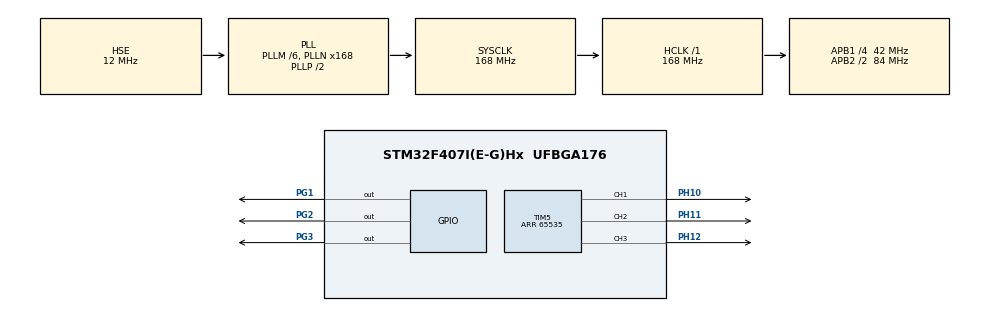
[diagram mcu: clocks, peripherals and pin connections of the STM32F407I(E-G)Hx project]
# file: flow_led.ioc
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Mcu.Family=STM32F4
Mcu.Name=STM32F407I(E-G)Hx
Mcu.Package=UFBGA176
NVIC.PriorityGroup=NVIC_PRIORITYGROUP_4
PA13.Mode=Serial_Wire
PA13.Signal=SYS_JTMS-SWDIO
PA14.Mode=Serial_Wire
PA14.Signal=SYS_JTCK-SWCLK
PG1.Signal=GPIO_Output
PG2.Signal=GPIO_Output
PG3.Signal=GPIO_Output
PH0-OSC_IN.Mode=HSE-External-Oscillator
PH0-OSC_IN.Signal=RCC_OSC_IN
PH1-OSC_OUT.Mode=HSE-External-Oscillator
PH1-OSC_OUT.Signal=RCC_OSC_OUT
PH10.GPIO_PuPd=GPIO_PULLUP
PH10.GPIO_Speed=GPIO_SPEED_FREQ_HIGH
PH10.Signal=S_TIM5_CH1
PH11.GPIO_PuPd=GPIO_PULLUP
PH11.GPIO_Speed=GPIO_SPEED_FREQ_HIGH
PH11.Signal=S_TIM5_CH2
PH12.GPIO_PuPd=GPIO_PULLUP
PH12.GPIO_Speed=GPIO_SPEED_FREQ_HIGH
PH12.Signal=S_TIM5_CH3
ProjectManager.HeapSize=0x200
ProjectManager.StackSize=0x400
ProjectManager.TargetToolchain=MDK-ARM V5
RCC.48MHZClocksFreq_Value=84000000
RCC.AHBFreq_Value=168000000
RCC.APB1CLKDivider=RCC_HCLK_DIV4
RCC.APB1Freq_Value=42000000
RCC.APB1TimFreq_Value=84000000
RCC.APB2CLKDivider=RCC_HCLK_DIV2
RCC.APB2Freq_Value=84000000
RCC.APB2TimFreq_Value=168000000
RCC.CortexFreq_Value=168000000
RCC.HCLKFreq_Value=168000000
RCC.HSE_VALUE=12000000
RCC.HSI_VALUE=16000000
RCC.LSE_VALUE=32768
RCC.PLLM=6
RCC.PLLN=168
RCC.PLLSourceVirtual=RCC_PLLSOURCE_HSE
RCC.SYSCLKFreq_VALUE=168000000
RCC.SYSCLKSource=RCC_SYSCLKSOURCE_PLLCLK
RCC.VCOOutputFreq_Value=336000000
SH.S_TIM5_CH1.0=TIM5_CH1,PWM Generation1 CH1
SH.S_TIM5_CH2.0=TIM5_CH2,PWM Generation2 CH2
SH.S_TIM5_CH3.0=TIM5_CH3,PWM Generation3 CH3
TIM5.Channel-PWM\ Generation1\ CH1=TIM_CHANNEL_1
TIM5.Channel-PWM\ Generation2\ CH2=TIM_CHANNEL_2
TIM5.Channel-PWM\ Generation3\ CH3=TIM_CHANNEL_3
TIM5.Period=65535
TIM5.Pulse-PWM\ Generation1\ CH1=10000
TIM5.Pulse-PWM\ Generation2\ CH2=10000
TIM5.Pulse-PWM\ Generation3\ CH3=10000
VP_TIM5_VS_ClockSourceINT.Mode=Internal
board=custom

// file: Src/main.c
/* USER CODE BEGIN Header */
/**
  ******************************************************************************
  * @file           : main.c
  * @brief          : Main program body
  ******************************************************************************
  * @attention
  *
  * <h2><center>&copy; Copyright (c) 2019 STMicroelectronics.
  * All rights reserved.</center></h2>
  *
  * This software component is licensed by ST under BSD 3-Clause license,
  * the "License"; You may not use this file except in compliance with the
  * License. You may obtain a copy of the License at:
  *                        opensource.org/licenses/BSD-3-Clause
  *
  ******************************************************************************
  */
/* USER CODE END Header */

#include "main.h"
#include "tim.h"
#include "gpio.h"

/* USER CODE BEGIN Includes */
#include "bsp_led.h"
/* USER CODE END Includes */

void SystemClock_Config(void);

/* USER CODE BEGIN 0 */
#define RGB_FLOW_COLOR_CHANGE_TIME  500
#define RGB_FLOW_COLOR_LENGHT   3
uint32_t RGB_flow_color[RGB_FLOW_COLOR_LENGHT + 1] = {0xFF0000FF, 0xFF00FF00, 0xFFFF0000, 0xFF0000FF};
/* USER CODE END 0 */

int main(void)
{

  /* MCU Configuration--------------------------------------------------------*/

  /* Reset of all peripherals, Initializes the Flash interface and the Systick. */
  HAL_Init();

  /* Configure the system clock */
  SystemClock_Config();

  /* Initialize all configured peripherals */
  MX_GPIO_Init();
  MX_TIM5_Init();
  /* USER CODE BEGIN 2 */

    //start tim
    //开启定时器
    HAL_TIM_Base_Start(&htim5);
    //start pwm channel
    //开启PWM通道
    HAL_TIM_PWM_Start(&htim5, TIM_CHANNEL_1);
    HAL_TIM_PWM_Start(&htim5, TIM_CHANNEL_2);
    HAL_TIM_PWM_Start(&htim5, TIM_CHANNEL_3);

  /* USER CODE END 2 */

  /* Infinite loop */
  while (1)
  {

    /* USER CODE BEGIN 3 */
        uint16_t i, j;
        fp32 delta_alpha, delta_red, delta_green, delta_blue;
        fp32 alpha,red,green,blue;
        uint32_t aRGB;
        for(i = 0; i < RGB_FLOW_COLOR_LENGHT; i++)
        {
            alpha = (RGB_flow_color[i] & 0xFF000000) >> 24;
            red = ((RGB_flow_color[i] & 0x00FF0000) >> 16);
            green = ((RGB_flow_color[i] & 0x0000FF00) >> 8);
            blue = ((RGB_flow_color[i] & 0x000000FF) >> 0);

            delta_alpha = (fp32)((RGB_flow_color[i + 1] & 0xFF000000) >> 24) - (fp32)((RGB_flow_color[i] & 0xFF000000) >> 24);
            delta_red = (fp32)((RGB_flow_color[i + 1] & 0x00FF0000) >> 16) - (fp32)((RGB_flow_color[i] & 0x00FF0000) >> 16);
            delta_green = (fp32)((RGB_flow_color[i + 1] & 0x0000FF00) >> 8) - (fp32)((RGB_flow_color[i] & 0x0000FF00) >> 8);
            delta_blue = (fp32)((RGB_flow_color[i + 1] & 0x000000FF) >> 0) - (fp32)((RGB_flow_color[i] & 0x000000FF) >> 0);

            delta_alpha /= RGB_FLOW_COLOR_CHANGE_TIME;
            delta_red /= RGB_FLOW_COLOR_CHANGE_TIME;
            delta_green /= RGB_FLOW_COLOR_CHANGE_TIME;
            delta_blue /= RGB_FLOW_COLOR_CHANGE_TIME;
            for(j = 0; j < RGB_FLOW_COLOR_CHANGE_TIME; j++)
            {
                alpha += delta_alpha;
                red += delta_red;
                green += delta_green;
                blue += delta_blue;

                aRGB = ((uint32_t)(alpha)) << 24 | ((uint32_t)(red)) << 16 | ((uint32_t)(green)) << 8 | ((uint32_t)(blue)) << 0;
                aRGB_led_show(aRGB);
                HAL_Delay(1);
            }

        }

  }
  /* USER CODE END 3 */
}

void SystemClock_Config(void)
{
  RCC_OscInitTypeDef RCC_OscInitStruct = {0};
  RCC_ClkInitTypeDef RCC_ClkInitStruct = {0};

  /** Configure the main internal regulator output voltage
  */
  __HAL_RCC_PWR_CLK_ENABLE();
  __HAL_PWR_VOLTAGESCALING_CONFIG(PWR_REGULATOR_VOLTAGE_SCALE1);
  /** Initializes the CPU, AHB and APB busses clocks
  */
  RCC_OscInitStruct.OscillatorType = RCC_OSCILLATORTYPE_HSE;
  RCC_OscInitStruct.HSEState = RCC_HSE_ON;
  RCC_OscInitStruct.PLL.PLLState = RCC_PLL_ON;
  RCC_OscInitStruct.PLL.PLLSource = RCC_PLLSOURCE_HSE;
  RCC_OscInitStruct.PLL.PLLM = 6;
  RCC_OscInitStruct.PLL.PLLN = 168;
  RCC_OscInitStruct.PLL.PLLP = RCC_PLLP_DIV2;
  RCC_OscInitStruct.PLL.PLLQ = 4;
  if (HAL_RCC_OscConfig(&RCC_OscInitStruct) != HAL_OK)
  {
    Error_Handler();
  }
  /** Initializes the CPU, AHB and APB busses clocks
  */
  RCC_ClkInitStruct.ClockType = RCC_CLOCKTYPE_HCLK|RCC_CLOCKTYPE_SYSCLK
                              |RCC_CLOCKTYPE_PCLK1|RCC_CLOCKTYPE_PCLK2;
  RCC_ClkInitStruct.SYSCLKSource = RCC_SYSCLKSOURCE_PLLCLK;
  RCC_ClkInitStruct.AHBCLKDivider = RCC_SYSCLK_DIV1;
  RCC_ClkInitStruct.APB1CLKDivider = RCC_HCLK_DIV4;
  RCC_ClkInitStruct.APB2CLKDivider = RCC_HCLK_DIV2;

  if (HAL_RCC_ClockConfig(&RCC_ClkInitStruct, FLASH_LATENCY_5) != HAL_OK)
  {
    Error_Handler();
  }
}

void Error_Handler(void)
{
}

/************************ (C) COPYRIGHT STMicroelectronics *****END OF FILE****/
